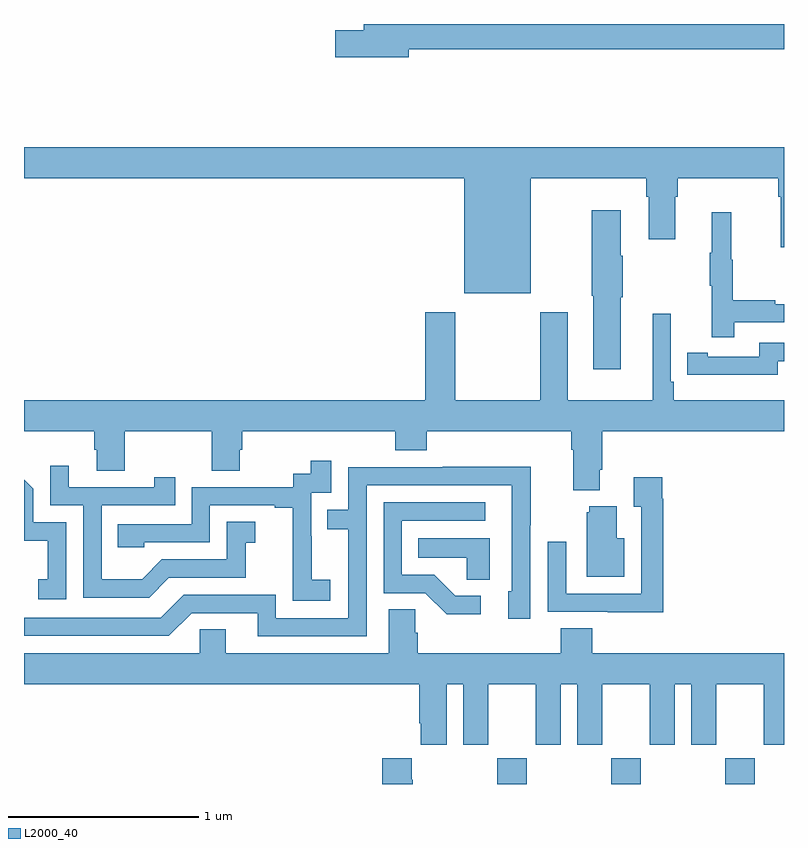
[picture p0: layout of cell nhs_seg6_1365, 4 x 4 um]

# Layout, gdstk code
import gdstk
lib = gdstk.Library(unit=1e-6, precision=1e-09)
def R(c, l, rs):  # rectangles x0, y0, x1, y1
    for r in rs: c.add(gdstk.rectangle(r[:2], r[2:], *l))
def A(c, l, x, y, w, h, nx, ny, dx, dy):  # array of equal rectangles
    R(c, l, [(x+i*dx, y+j*dy, x+i*dx+w, y+j*dy+h) for i in range(nx) for j in range(ny)])
def P(c, l, *ps):  # polygons
    for p in ps: c.add(gdstk.Polygon(p, *l))
L2000_40 = (2000, 40)

nhs_seg6_1365 = lib.new_cell('nhs_seg6_1365')
A(nhs_seg6_1365, L2000_40, 197.491, 925.5, 0.155, 0.136, 3, 1, 0.6, 0)
P(nhs_seg6_1365, L2000_40, [(197.026,929.368),(199,929.368),(199,929.5),(196.787,929.5),(196.787,929.468),(196.638,929.468),(196.638,929.326),(197.026,929.326)],
  [(197.668,928.688),(198.275,928.688),(198.275,928.592),(198.287,928.592),(198.287,928.368),(198.427,928.368),(198.427,928.592),(198.44,928.592),(198.44,928.688),(198.971,928.688),(198.971,928.592),(198.983,928.592),(198.983,928.326),(199,928.326),(199,928.852),(195,928.852),(195,928.688),(197.318,928.688),(197.318,928.082),(197.668,928.082)],
  [(198.142,928.063),(198.15,928.063),(198.15,928.28),(198.142,928.28),(198.142,928.519),(197.989,928.519),(197.989,928.069),(197.996,928.069),(197.996,927.684),(198.142,927.684)],
  [(198.737,927.93),(199,927.93),(199,928.026),(198.953,928.026),(198.953,928.046),(198.73,928.046),(198.73,928.26),(198.722,928.26),(198.722,928.51),(198.62,928.51),(198.62,928.297),(198.609,928.297),(198.609,928.123),(198.62,928.123),(198.62,927.852),(198.737,927.852)],
  [(198.031,927.154),(198.044,927.154),(198.044,927.356),(199,927.356),(199,927.52),(198.419,927.52),(198.419,927.616),(198.405,927.616),(198.405,927.976),(198.308,927.976),(198.308,927.52),(197.863,927.52),(197.863,927.982),(197.716,927.982),(197.716,927.52),(197.271,927.52),(197.271,927.982),(197.111,927.982),(197.111,927.52),(195,927.52),(195,927.356),(195.371,927.356),(195.371,927.258),(195.383,927.258),(195.383,927.148),(195.531,927.148),(195.531,927.356),(195.988,927.356),(195.988,927.148),(196.135,927.148),(196.135,927.258),(196.148,927.258),(196.148,927.356),(196.955,927.356),(196.955,927.257),(197.12,927.257),(197.12,927.356),(197.879,927.356),(197.879,927.26),(197.891,927.26),(197.891,927.047),(198.031,927.047)],
  [(198.966,927.726),(199,927.726),(199,927.822),(198.87,927.822),(198.87,927.75),(198.598,927.75),(198.598,927.77),(198.49,927.77),(198.49,927.654),(198.598,927.654),(198.598,927.653),(198.966,927.653)],
  [(196.612,926.575),(196.514,926.575),(196.514,926.804),(196.512,926.804),(196.512,927.033),(196.617,927.033),(196.617,927.202),(196.509,927.202),(196.509,927.132),(196.416,927.132),(196.416,927.063),(195.882,927.063),(195.882,926.868),(195.493,926.868),(195.493,926.745),(195.633,926.745),(195.633,926.772),(195.978,926.772),(195.978,926.967),(196.319,926.967),(196.319,926.955),(196.415,926.955),(196.415,926.671),(196.414,926.671),(196.414,926.465),(196.612,926.465)],
  [(195.763,926.586),(196.167,926.586),(196.167,926.771),(196.216,926.771),(196.216,926.881),(196.068,926.881),(196.068,926.682),(195.726,926.682),(195.622,926.578),(195.408,926.578),(195.408,926.967),(195.797,926.967),(195.797,927.115),(195.686,927.115),(195.686,927.063),(195.235,927.063),(195.235,927.175),(195.138,927.175),(195.138,926.967),(195.312,926.967),(195.312,926.481),(195.658,926.481)],
  [(196.803,927.072),(197.568,927.072),(197.568,926.514),(197.549,926.514),(197.549,926.37),(197.664,926.37),(197.664,926.863),(197.667,926.863),(197.667,927.17),(197.203,927.17),(197.203,927.168),(196.707,927.168),(196.707,926.943),(196.597,926.943),(196.597,926.842),(196.707,926.842),(196.707,926.373),(196.326,926.373),(196.326,926.496),(195.84,926.496),(195.72,926.376),(195,926.376),(195,926.28),(195.762,926.28),(195.882,926.4),(196.229,926.4),(196.229,926.277),(196.803,926.277)],
  [(198.365,927.002),(198.358,927.002),(198.358,927.115),(198.209,927.115),(198.209,926.959),(198.249,926.959),(198.249,926.502),(197.853,926.502),(197.853,926.776),(197.757,926.776),(197.757,926.406),(198.073,926.406),(198.073,926.405),(198.365,926.405)],
  [(195.222,926.877),(195.048,926.877),(195.048,927.054),(195,927.102),(195,926.781),(195.125,926.781),(195.125,926.577),(195.076,926.577),(195.076,926.472),(195.222,926.472)],
  [(197.404,926.49),(197.269,926.49),(197.158,926.601),(196.989,926.601),(196.989,926.886),(197.428,926.886),(197.428,926.982),(196.893,926.982),(196.893,926.505),(197.112,926.505),(197.225,926.393),(197.404,926.393)],
  [(198.16,926.794),(198.121,926.794),(198.121,926.962),(197.975,926.962),(197.975,926.931),(197.963,926.931),(197.963,926.591),(198.16,926.591)],
  [(197.452,926.794),(197.074,926.794),(197.074,926.69),(197.331,926.69),(197.331,926.575),(197.452,926.575)],
  [(197.072,926.297),(197.058,926.297),(197.058,926.42),(196.919,926.42),(196.919,926.188),(196.063,926.188),(196.063,926.315),(195.924,926.315),(195.924,926.188),(195,926.188),(195,926.024),(197.081,926.024),(197.081,925.819),(197.087,925.819),(197.087,925.707),(197.224,925.707),(197.224,926.024),(197.312,926.024),(197.312,925.707),(197.443,925.707),(197.443,926.024),(197.693,926.024),(197.693,925.707),(197.824,925.707),(197.824,926.024),(197.912,926.024),(197.912,925.707),(198.043,925.707),(198.043,926.024),(198.293,926.024),(198.293,925.707),(198.424,925.707),(198.424,926.024),(198.512,926.024),(198.512,925.707),(198.643,925.707),(198.643,926.024),(198.893,926.024),(198.893,925.707),(199,925.707),(199,926.188),(197.99,926.188),(197.99,926.321),(197.825,926.321),(197.825,926.188),(197.072,926.188)],
  [(197.046,925.523),(197.041,925.523),(197.041,925.636),(196.886,925.636),(196.886,925.5),(197.046,925.5)])

lib.write_gds('nhs_seg6_1365.gds')
